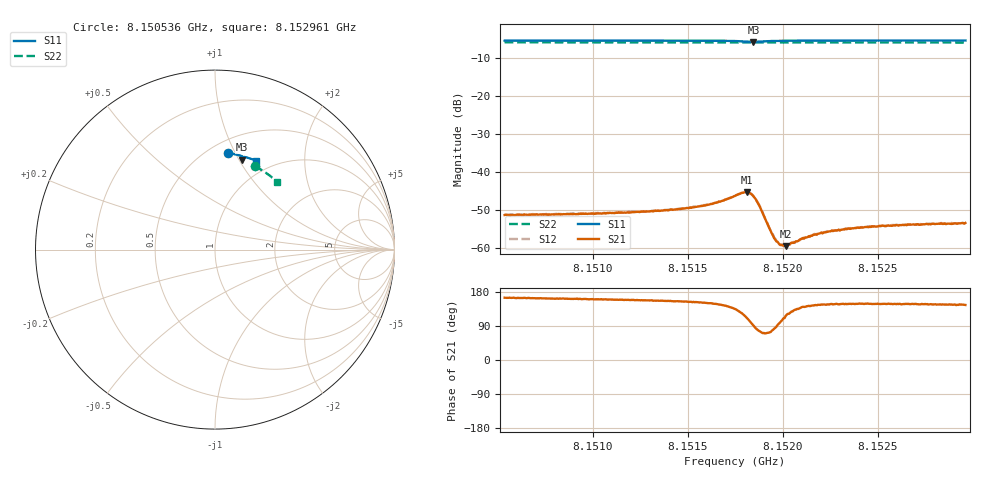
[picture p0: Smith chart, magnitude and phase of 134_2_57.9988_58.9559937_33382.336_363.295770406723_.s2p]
#  HZ  S  RI  R  50.00
! Rohde & Schwarz Vector Network Analyzer
! Rohde-Schwarz,ZNB20-2Port,1311601062101988,3.16
! Created: UTC 3/21/2024, 12:56:14 AM
! freq[Hz]  re:S11  im:S11  re:S21  im:S21  re:S12  im:S12  re:S22  im:S22
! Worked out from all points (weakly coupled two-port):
!   401 points, 8.150536 GHz to 8.152961 GHz, reference 50 ohm
!   highest |S21| = -45.31 dB at 8.151809 GHz (marker M1); lowest = -59.5 dB at 8.152015 GHz (marker M2)
!   lowest |S11| = -5.6 dB at 8.151845 GHz (marker M3), VSWR 3.19, Z = 37.5 + j51.6 ohm
!   |S11| at or under -10 dB: nowhere
!   |S22| runs from -5.8 to -5.8 dB; largest |S21 - S12| = 0.00014
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8.1505358e9  0.0698 0.5371  -0.00262 0.00073  -0.00262 0.000778  0.2207 0.4652
8.150942e9  0.0984 0.5332  -0.00264 0.000943  -0.0027 0.000961  0.2439 0.453
8.1513482e9  0.1276 0.5275  -0.00281 0.00123  -0.00285 0.0013  0.2662 0.4395
8.1514756e9  0.137 0.525  -0.00298 0.00142  -0.00296 0.00149  0.273 0.4351
8.1515907e9  0.1462 0.5218  -0.00317 0.00176  -0.00315 0.00186  0.2792 0.4309
8.1516817e9  0.1541 0.5177  -0.00342 0.00241  -0.00338 0.00246  0.2842 0.4276
8.1517484e9  0.1596 0.5116  -0.00339 0.00345  -0.00335 0.00355  0.2875 0.4248
8.1517848e9  0.1606 0.5059  -0.00291 0.00444  -0.00287 0.0045  0.2893 0.4234
8.151809e9  0.1586 0.5018  -0.00203 0.00503  -0.00198 0.00511  0.2903 0.4223
8.1518272e9  0.1555 0.4998  -0.00106 0.00514  -0.00101 0.00517  0.2913 0.4217
8.1518454e9  0.1515 0.5002  -8.62e-05 0.00479  1.64e-05 0.00485  0.292 0.421
8.1518757e9  0.1478 0.5049  0.000842 0.00353  0.000924 0.00356  0.2934 0.4203
8.1519303e9  0.1513 0.5128  0.000527 0.00172  0.00056 0.00171  0.2963 0.4185
8.1519545e9  0.1542 0.5146  0.00017 0.00133  0.000177 0.00136  0.2978 0.4177
8.1519788e9  0.1569 0.5154  -0.000111 0.00113  -0.000105 0.00113  0.299 0.4167
8.1519969e9  0.1589 0.5156  -0.00029 0.00105  -0.00031 0.00106  0.3 0.4161
8.1520151e9  0.1609 0.5158  -0.000471 0.000949  -0.000427 0.00101  0.301 0.4155
8.1521546e9  0.1734 0.5145  -0.00117 0.000852  -0.00116 0.000886  0.3082 0.4099
8.1522455e9  0.1806 0.5125  -0.00138 0.000909  -0.0014 0.000918  0.3128 0.4063
8.1523365e9  0.1872 0.5106  -0.00148 0.000947  -0.00152 0.000975  0.3173 0.4025
8.1525608e9  0.2027 0.5054  -0.00166 0.00103  -0.00165 0.00108  0.3284 0.3933
8.1529609e9  0.2291 0.4947  -0.00175 0.00122  -0.00174 0.00121  0.3472 0.3761
